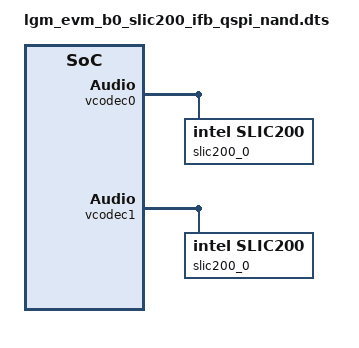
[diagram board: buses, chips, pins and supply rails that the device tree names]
#include "lgm_evm_b0_qspi_nand.dts"

/* Set type of DC/DC converter to IFB12 */
&vcodec0 {
	slic200_0 {
		compatible = "intel,slic200";
		dcdc_type = "IFB";
	};
};

&vcodec1 {
	slic200_0 {
		compatible = "intel,slic200";
		dcdc_type = "IFB";
	};
};
